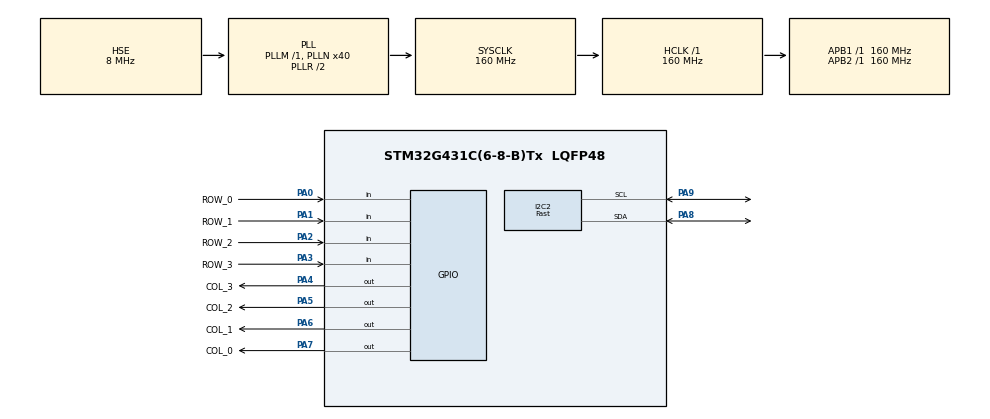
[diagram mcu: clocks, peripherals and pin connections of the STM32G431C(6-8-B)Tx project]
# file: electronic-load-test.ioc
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Dma.I2C2_TX.0.Direction=DMA_MEMORY_TO_PERIPH
Dma.I2C2_TX.0.EventEnable=DISABLE
Dma.I2C2_TX.0.Instance=DMA1_Channel1
Dma.I2C2_TX.0.MemDataAlignment=DMA_MDATAALIGN_BYTE
Dma.I2C2_TX.0.MemInc=DMA_MINC_ENABLE
Dma.I2C2_TX.0.Mode=DMA_NORMAL
Dma.I2C2_TX.0.PeriphDataAlignment=DMA_PDATAALIGN_BYTE
Dma.I2C2_TX.0.PeriphInc=DMA_PINC_DISABLE
Dma.I2C2_TX.0.Polarity=HAL_DMAMUX_REQ_GEN_RISING
Dma.I2C2_TX.0.Priority=DMA_PRIORITY_LOW
Dma.I2C2_TX.0.RequestNumber=1
Dma.I2C2_TX.0.SignalID=NONE
Dma.I2C2_TX.0.SyncEnable=DISABLE
Dma.I2C2_TX.0.SyncPolarity=HAL_DMAMUX_SYNC_NO_EVENT
Dma.I2C2_TX.0.SyncRequestNumber=1
Dma.I2C2_TX.0.SyncSignalID=NONE
Dma.Request0=I2C2_TX
FREERTOS.Tasks01=GUITask,24,1024,StartDefaultTask,Default,NULL,Static,GUITaskBuffer,GUITaskControlBlock;KeypadTask,16,256,StartTask02,Default,NULL,Static,KeypadTaskBuffer,KeypadTaskControlBlock
I2C2.I2C_Speed_Mode=I2C_Fast
I2C2.Timing=0x10F32A82
Mcu.Family=STM32G4
Mcu.Name=STM32G431C(6-8-B)Tx
Mcu.Package=LQFP48
NVIC.DMA1_Channel1_IRQn=true\:5\:0\:false\:false\:true\:true\:false\:true\:true
NVIC.I2C2_ER_IRQn=true\:5\:0\:false\:false\:true\:true\:true\:true\:true
NVIC.I2C2_EV_IRQn=true\:5\:0\:false\:false\:true\:true\:true\:true\:true
NVIC.PriorityGroup=NVIC_PRIORITYGROUP_4
NVIC.TIM6_DAC_IRQn=true\:15\:0\:false\:false\:true\:false\:false\:true\:true
NVIC.TimeBase=TIM6_DAC_IRQn
NVIC.TimeBaseIP=TIM6
PA0.GPIO_Label=ROW_0
PA0.GPIO_Mode=GPIO_MODE_INPUT
PA0.GPIO_PuPd=GPIO_PULLUP
PA0.Signal=GPIO_Input
PA1.GPIO_Label=ROW_1
PA1.GPIO_Mode=GPIO_MODE_INPUT
PA1.GPIO_PuPd=GPIO_PULLUP
PA1.Signal=GPIO_Input
PA13.Mode=Serial_Wire
PA13.Signal=SYS_JTMS-SWDIO
PA14.Mode=Serial_Wire
PA14.Signal=SYS_JTCK-SWCLK
PA2.GPIO_Label=ROW_2
PA2.GPIO_Mode=GPIO_MODE_INPUT
PA2.GPIO_PuPd=GPIO_PULLUP
PA2.Signal=GPIO_Input
PA3.GPIO_Label=ROW_3
PA3.GPIO_Mode=GPIO_MODE_INPUT
PA3.GPIO_PuPd=GPIO_PULLUP
PA3.Signal=GPIO_Input
PA4.GPIO_Label=COL_3
PA4.Signal=GPIO_Output
PA5.GPIO_Label=COL_2
PA5.Signal=GPIO_Output
PA6.GPIO_Label=COL_1
PA6.Signal=GPIO_Output
PA7.GPIO_Label=COL_0
PA7.Signal=GPIO_Output
PA8.GPIO_Speed=GPIO_SPEED_FREQ_HIGH
PA8.Mode=I2C
PA8.Signal=I2C2_SDA
PA9.GPIO_Speed=GPIO_SPEED_FREQ_HIGH
PA9.Mode=I2C
PA9.Signal=I2C2_SCL
PF0-OSC_IN.Mode=HSE-External-Oscillator
PF0-OSC_IN.Signal=RCC_OSC_IN
PF1-OSC_OUT.Mode=HSE-External-Oscillator
PF1-OSC_OUT.Signal=RCC_OSC_OUT
ProjectManager.HeapSize=0x200
ProjectManager.StackSize=0x400
ProjectManager.TargetToolchain=CMake
RCC.ADC12Freq_Value=160000000
RCC.AHBFreq_Value=160000000
RCC.APB1Freq_Value=160000000
RCC.APB1TimFreq_Value=160000000
RCC.APB2Freq_Value=160000000
RCC.APB2TimFreq_Value=160000000
RCC.CortexFreq_Value=160000000
RCC.EXTERNAL_CLOCK_VALUE=12288000
RCC.EnbaleCSS=true
RCC.HCLKFreq_Value=160000000
RCC.HSE_VALUE=8000000
RCC.HSI48_VALUE=48000000
RCC.HSI_VALUE=16000000
RCC.LSE_VALUE=32768
RCC.PLLN=40
RCC.PLLSourceVirtual=RCC_PLLSOURCE_HSE
RCC.SYSCLKFreq_VALUE=160000000
RCC.SYSCLKSource=RCC_SYSCLKSOURCE_PLLCLK
RCC.USBFreq_Value=160000000
RCC.VCOOutputFreq_Value=320000000
VP_FREERTOS_VS_CMSIS_V2.Mode=CMSIS_V2
VP_SYS_VS_DBSignals.Mode=DisableDeadBatterySignals
VP_SYS_VS_tim6.Mode=TIM6
board=custom

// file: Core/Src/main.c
/* USER CODE BEGIN Header */
/**
  ******************************************************************************
  * @file           : main.c
  * @brief          : Main program body
  ******************************************************************************
  * @attention
  *
  * Copyright (c) 2026 STMicroelectronics.
  * All rights reserved.
  *
  * This software is licensed under terms that can be found in the LICENSE file
  * in the root directory of this software component.
  * If no LICENSE file comes with this software, it is provided AS-IS.
  *
  ******************************************************************************
  */
/* USER CODE END Header */
#include "main.h"
#include "cmsis_os.h"

/* USER CODE BEGIN Includes */

#include "ssd1306.h"

#include "DisplayMenu.h"

/* USER CODE END Includes */

typedef StaticTask_t osStaticThreadDef_t;

I2C_HandleTypeDef hi2c2;
DMA_HandleTypeDef hdma_i2c2_tx;

/* Definitions for GUITask */
osThreadId_t GUITaskHandle;
uint32_t GUITaskBuffer[ 1024 ];
osStaticThreadDef_t GUITaskControlBlock;
const osThreadAttr_t GUITask_attributes = {
  .name = "GUITask",
  .stack_mem = &GUITaskBuffer[0],
  .stack_size = sizeof(GUITaskBuffer),
  .cb_mem = &GUITaskControlBlock,
  .cb_size = sizeof(GUITaskControlBlock),
  .priority = (osPriority_t) osPriorityNormal,
};
/* Definitions for KeypadTask */
osThreadId_t KeypadTaskHandle;
uint32_t KeypadTaskBuffer[ 256 ];
osStaticThreadDef_t KeypadTaskControlBlock;
const osThreadAttr_t KeypadTask_attributes = {
  .name = "KeypadTask",
  .stack_mem = &KeypadTaskBuffer[0],
  .stack_size = sizeof(KeypadTaskBuffer),
  .cb_mem = &KeypadTaskControlBlock,
  .cb_size = sizeof(KeypadTaskControlBlock),
  .priority = (osPriority_t) osPriorityBelowNormal,
};
/* USER CODE BEGIN PV */

osThreadId_t displayTaskHandle = NULL;

/* USER CODE END PV */

void SystemClock_Config(void);
static void MX_GPIO_Init(void);
static void MX_DMA_Init(void);
static void MX_I2C2_Init(void);
void StartDefaultTask(void *argument);
void StartTask02(void *argument);

int main(void)
{

  /* MCU Configuration--------------------------------------------------------*/

  /* Reset of all peripherals, Initializes the Flash interface and the Systick. */
  HAL_Init();

  /* Configure the system clock */
  SystemClock_Config();

  /* Initialize all configured peripherals */
  MX_GPIO_Init();
  MX_DMA_Init();
  MX_I2C2_Init();

  /* Init scheduler */
  osKernelInitialize();

  /* Create the thread(s) */
  /* creation of GUITask */
  GUITaskHandle = osThreadNew(StartDefaultTask, NULL, &GUITask_attributes);

  /* creation of KeypadTask */
  KeypadTaskHandle = osThreadNew(StartTask02, NULL, &KeypadTask_attributes);

  /* Start scheduler */
  osKernelStart();

  /* We should never get here as control is now taken by the scheduler */

  /* Infinite loop */
  while (1)
  {

  }
}

void SystemClock_Config(void)
{
  RCC_OscInitTypeDef RCC_OscInitStruct = {0};
  RCC_ClkInitTypeDef RCC_ClkInitStruct = {0};

  /** Configure the main internal regulator output voltage
  */
  HAL_PWREx_ControlVoltageScaling(PWR_REGULATOR_VOLTAGE_SCALE1_BOOST);

  /** Initializes the RCC Oscillators according to the specified parameters
  * in the RCC_OscInitTypeDef structure.
  */
  RCC_OscInitStruct.OscillatorType = RCC_OSCILLATORTYPE_HSE;
  RCC_OscInitStruct.HSEState = RCC_HSE_ON;
  RCC_OscInitStruct.PLL.PLLState = RCC_PLL_ON;
  RCC_OscInitStruct.PLL.PLLSource = RCC_PLLSOURCE_HSE;
  RCC_OscInitStruct.PLL.PLLM = RCC_PLLM_DIV1;
  RCC_OscInitStruct.PLL.PLLN = 40;
  RCC_OscInitStruct.PLL.PLLP = RCC_PLLP_DIV2;
  RCC_OscInitStruct.PLL.PLLQ = RCC_PLLQ_DIV2;
  RCC_OscInitStruct.PLL.PLLR = RCC_PLLR_DIV2;
  if (HAL_RCC_OscConfig(&RCC_OscInitStruct) != HAL_OK)
  {
    Error_Handler();
  }

  /** Initializes the CPU, AHB and APB buses clocks
  */
  RCC_ClkInitStruct.ClockType = RCC_CLOCKTYPE_HCLK|RCC_CLOCKTYPE_SYSCLK
                              |RCC_CLOCKTYPE_PCLK1|RCC_CLOCKTYPE_PCLK2;
  RCC_ClkInitStruct.SYSCLKSource = RCC_SYSCLKSOURCE_PLLCLK;
  RCC_ClkInitStruct.AHBCLKDivider = RCC_SYSCLK_DIV1;
  RCC_ClkInitStruct.APB1CLKDivider = RCC_HCLK_DIV1;
  RCC_ClkInitStruct.APB2CLKDivider = RCC_HCLK_DIV1;

  if (HAL_RCC_ClockConfig(&RCC_ClkInitStruct, FLASH_LATENCY_4) != HAL_OK)
  {
    Error_Handler();
  }

  /** Enables the Clock Security System
  */
  HAL_RCC_EnableCSS();
}

static void MX_I2C2_Init(void)
{

  hi2c2.Instance = I2C2;
  hi2c2.Init.Timing = 0x10F32A82;
  hi2c2.Init.OwnAddress1 = 0;
  hi2c2.Init.AddressingMode = I2C_ADDRESSINGMODE_7BIT;
  hi2c2.Init.DualAddressMode = I2C_DUALADDRESS_DISABLE;
  hi2c2.Init.OwnAddress2 = 0;
  hi2c2.Init.OwnAddress2Masks = I2C_OA2_NOMASK;
  hi2c2.Init.GeneralCallMode = I2C_GENERALCALL_DISABLE;
  hi2c2.Init.NoStretchMode = I2C_NOSTRETCH_DISABLE;
  if (HAL_I2C_Init(&hi2c2) != HAL_OK)
  {
    Error_Handler();
  }

  /** Configure Analogue filter
  */
  if (HAL_I2CEx_ConfigAnalogFilter(&hi2c2, I2C_ANALOGFILTER_ENABLE) != HAL_OK)
  {
    Error_Handler();
  }

  /** Configure Digital filter
  */
  if (HAL_I2CEx_ConfigDigitalFilter(&hi2c2, 0) != HAL_OK)
  {
    Error_Handler();
  }

}

static void MX_DMA_Init(void)
{

  /* DMA controller clock enable */
  __HAL_RCC_DMAMUX1_CLK_ENABLE();
  __HAL_RCC_DMA1_CLK_ENABLE();

  /* DMA interrupt init */
  /* DMA1_Channel1_IRQn interrupt configuration */
  HAL_NVIC_SetPriority(DMA1_Channel1_IRQn, 5, 0);
  HAL_NVIC_EnableIRQ(DMA1_Channel1_IRQn);

}

static void MX_GPIO_Init(void)
{
  GPIO_InitTypeDef GPIO_InitStruct = {0};

  /* GPIO Ports Clock Enable */
  __HAL_RCC_GPIOF_CLK_ENABLE();
  __HAL_RCC_GPIOA_CLK_ENABLE();

  /*Configure GPIO pin Output Level */
  HAL_GPIO_WritePin(GPIOA, COL_3_Pin|COL_2_Pin|COL_1_Pin|COL_0_Pin, GPIO_PIN_RESET);

  /*Configure GPIO pins : ROW_0_Pin ROW_1_Pin ROW_2_Pin ROW_3_Pin */
  GPIO_InitStruct.Pin = ROW_0_Pin|ROW_1_Pin|ROW_2_Pin|ROW_3_Pin;
  GPIO_InitStruct.Mode = GPIO_MODE_INPUT;
  GPIO_InitStruct.Pull = GPIO_PULLUP;
  HAL_GPIO_Init(GPIOA, &GPIO_InitStruct);

  /*Configure GPIO pins : COL_3_Pin COL_2_Pin COL_1_Pin COL_0_Pin */
  GPIO_InitStruct.Pin = COL_3_Pin|COL_2_Pin|COL_1_Pin|COL_0_Pin;
  GPIO_InitStruct.Mode = GPIO_MODE_OUTPUT_PP;
  GPIO_InitStruct.Pull = GPIO_NOPULL;
  GPIO_InitStruct.Speed = GPIO_SPEED_FREQ_LOW;
  HAL_GPIO_Init(GPIOA, &GPIO_InitStruct);

}

void StartDefaultTask(void *argument)
{
  /* USER CODE BEGIN 5 */
  /* Infinite loop */
//  for(;;)
//  {
//      ssd1306_TestAll();
//  }
//
  displayTaskHandle = osThreadGetId();
  ssd1306_Init();

  for (;;) {

    (void)osThreadFlagsClear(
        DISPLAY_DMA_DONE | DISPLAY_DMA_ERROR);

    ssd1306_UpdateScreen_DMA();

    while (ssd1306_DMA_IsBusy()) {

      ssd1306_DMA_Process();

      if (ssd1306_DMA_HasError()) {
        break;
      }

      if (ssd1306_DMA_IsWaitingForTransfer()) {

        uint32_t flags = osThreadFlagsWait(
            DISPLAY_DMA_DONE | DISPLAY_DMA_ERROR,
            osFlagsWaitAny,
            osWaitForever);

        if ((flags & osFlagsError) != 0U) {
          break;
        }
      }
    }

    if (ssd1306_DMA_HasError()) {
        // Обработать ошибку; перед новым запуском
        // нужно корректно восстановить автомат состояний.
    }

    osDelay(20);
  }

  /* USER CODE END 5 */
}

void StartTask02(void *argument)
{
  /* USER CODE BEGIN StartTask02 */
  /* Infinite loop */

  DisplayMenuInit();

  int disp_current_row = 0;
  DisplayMenuSelect(disp_current_row);

  HAL_GPIO_WritePin(COL_3_GPIO_Port, COL_3_Pin, GPIO_PIN_RESET);

  for (;;) {

    bool row0_pressed = !HAL_GPIO_ReadPin(ROW_0_GPIO_Port, ROW_0_Pin);
    bool row1_pressed = !HAL_GPIO_ReadPin(ROW_1_GPIO_Port, ROW_1_Pin);

    if (row0_pressed) {
      DisplayMenuUp(&disp_current_row);
    }
    if (row1_pressed) {
      DisplayMenuDown(&disp_current_row);
    }

    osDelay(100);
  }

 //  osDelay(2000);

 //  for(;;)
 //  {
 //    for (int i = 0; i < 3; i++) {
 //      DisplayMenuDown(&disp_current_row);
 //      osDelay(300);
 //    }
 //    for (int i = 0; i < 3; i++) {
 //      DisplayMenuUp(&disp_current_row);
 //      osDelay(300);
 //    }
 //  }

  /* USER CODE END StartTask02 */
}

void HAL_TIM_PeriodElapsedCallback(TIM_HandleTypeDef *htim)
{
  if (htim->Instance == TIM6)
  {
    HAL_IncTick();
  }
}

void Error_Handler(void)
{
  __disable_irq();
  while (1)
  {
  }
}
